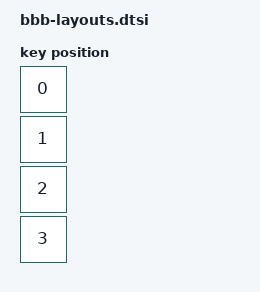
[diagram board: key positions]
#include <physical_layouts.dtsi>

/ {
    physical_layout_bbb: physical_layout_bbb {
        compatible = "zmk,physical-layout";
        display-name = "bbb";
        keys  //                     w   h    x    y     rot    rx    ry
            = <&key_physical_attrs 100 100    0    0       0     0     0>
            , <&key_physical_attrs 100 100    0  100       0     0   100>
            , <&key_physical_attrs 100 100    0  200       0     0   200>
            , <&key_physical_attrs 100 100    0  300       0     0   300>
            ;
    };
};
